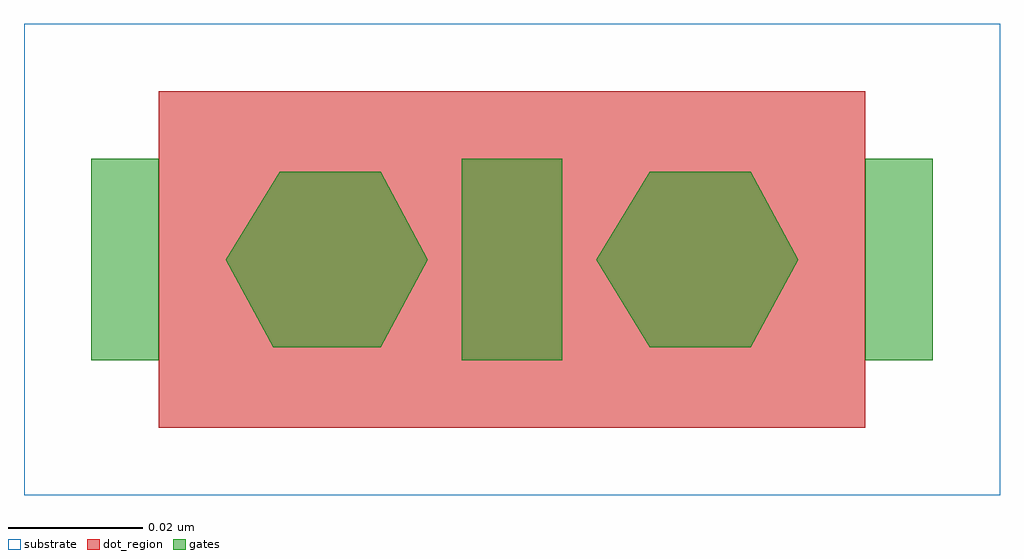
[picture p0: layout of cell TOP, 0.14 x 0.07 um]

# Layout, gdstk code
import gdstk
lib = gdstk.Library(unit=1e-6, precision=1e-09)
def R(c, l, rs):  # rectangles x0, y0, x1, y1
    for r in rs: c.add(gdstk.rectangle(r[:2], r[2:], *l))
def P(c, l, *ps):  # polygons
    for p in ps: c.add(gdstk.Polygon(p, *l))
substrate = (0, 0)
dot_region = (1, 0)
gates = (4, 0)

top = lib.new_cell('TOP')
R(top, substrate, [(-0.02,0,0.125,0.07)])
R(top, dot_region, [(0,0.01,0.105,0.06)])
R(top, gates, [(-0.01,0.02,0,0.05), (0.045,0.02,0.06,0.05), (0.105,0.02,0.115,0.05)])
P(top, gates, [(0.073,0.022),(0.065,0.035),(0.073,0.048),(0.088,0.048),(0.095,0.035),(0.088,0.022)],
  [(0.017,0.022),(0.01,0.035),(0.018,0.048),(0.033,0.048),(0.04,0.035),(0.033,0.022)])

lib.write_gds('TOP.gds')
